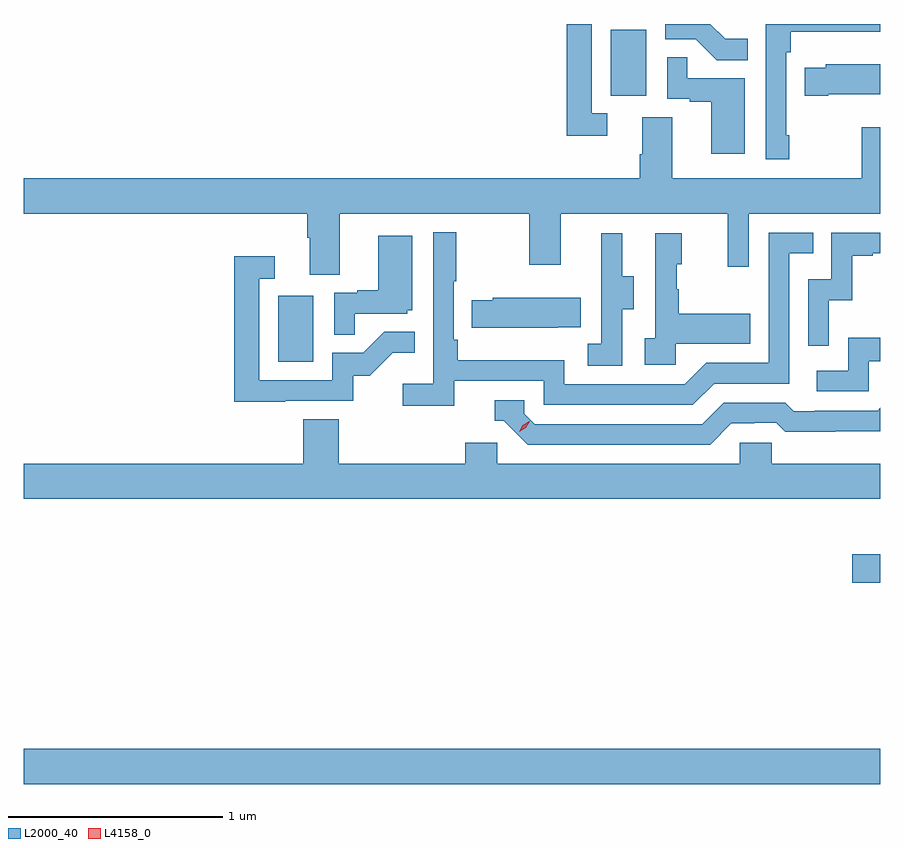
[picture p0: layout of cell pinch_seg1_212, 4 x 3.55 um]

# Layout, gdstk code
import gdstk
lib = gdstk.Library(unit=1e-6, precision=1e-09)
def R(c, l, rs):  # rectangles x0, y0, x1, y1
    for r in rs: c.add(gdstk.rectangle(r[:2], r[2:], *l))
def P(c, l, *ps):  # polygons
    for p in ps: c.add(gdstk.Polygon(p, *l))
L2000_40 = (2000, 40)
L4158_0 = (4158, 0)

pinch_seg1_212 = lib.new_cell('pinch_seg1_212')
R(pinch_seg1_212, L2000_40, [(1007.51,563.72,1011.51,563.884), (1011.378,564.659,1011.51,564.793), (1008.698,565.692,1008.862,565.999), (1010.252,566.934,1010.416,567.241)])
P(pinch_seg1_212, L2000_40, [(1011.085,566.749),(1011.072,566.749),(1011.072,567.137),(1011.092,567.137),(1011.092,567.233),(1011.51,567.233),(1011.51,567.269),(1010.976,567.269),(1010.976,566.637),(1011.085,566.637)],
  [(1010.891,567.199),(1010.787,567.199),(1010.717,567.269),(1010.505,567.269),(1010.505,567.198),(1010.649,567.198),(1010.747,567.1),(1010.891,567.1)],
  [(1010.236,566.853),(1010.163,566.853),(1010.163,567.269),(1010.047,567.269),(1010.047,566.748),(1010.236,566.748)],
  [(1010.878,567.015),(1010.609,567.015),(1010.609,567.113),(1010.514,567.113),(1010.514,566.919),(1010.621,566.919),(1010.621,566.907),(1010.72,566.907),(1010.72,566.664),(1010.878,566.664)],
  [(1011.268,566.942),(1011.51,566.942),(1011.51,567.082),(1011.255,567.082),(1011.255,567.064),(1011.157,567.064),(1011.157,566.935),(1011.268,566.935)],
  [(1008.985,566.384),(1009.87,566.384),(1009.87,566.145),(1010.017,566.145),(1010.017,566.384),(1010.798,566.384),(1010.798,566.136),(1010.895,566.136),(1010.895,566.384),(1011.51,566.384),(1011.51,566.788),(1011.424,566.788),(1011.424,566.548),(1010.539,566.548),(1010.539,566.834),(1010.399,566.834),(1010.399,566.66),(1010.387,566.66),(1010.387,566.548),(1007.51,566.548),(1007.51,566.384),(1008.833,566.384),(1008.833,566.272),(1008.845,566.272),(1008.845,566.098),(1008.985,566.098)],
  [(1009.52,565.602),(1009.938,565.602),(1009.938,565.491),(1010.635,565.491),(1010.734,565.59),(1011.084,565.59),(1011.084,566.199),(1011.197,566.199),(1011.197,566.295),(1010.988,566.295),(1010.988,565.686),(1010.697,565.686),(1010.598,565.587),(1010.034,565.587),(1010.034,565.699),(1009.538,565.699),(1009.538,565.795),(1009.518,565.795),(1009.518,566.068),(1009.531,566.068),(1009.531,566.296),(1009.422,566.296),(1009.422,565.588),(1009.281,565.588),(1009.281,565.486),(1009.52,565.486)],
  [(1011.27,565.979),(1011.38,565.979),(1011.38,566.187),(1011.475,566.187),(1011.475,566.199),(1011.51,566.199),(1011.51,566.295),(1011.282,566.295),(1011.282,566.076),(1011.174,566.076),(1011.174,565.767),(1011.27,565.767)],
  [(1010.556,565.775),(1010.903,565.775),(1010.903,565.915),(1010.569,565.915),(1010.569,566.03),(1010.559,566.03),(1010.559,566.148),(1010.584,566.148),(1010.584,566.293),(1010.46,566.293),(1010.46,565.802),(1010.409,565.802),(1010.409,565.677),(1010.556,565.677)],
  [(1010.304,565.936),(1010.359,565.936),(1010.359,566.091),(1010.305,566.091),(1010.305,566.293),(1010.207,566.293),(1010.207,566.079),(1010.208,566.079),(1010.208,565.775),(1010.145,565.775),(1010.145,565.672),(1010.304,565.672)],
  [(1009.055,565.917),(1009.302,565.917),(1009.302,565.932),(1009.324,565.932),(1009.324,566.281),(1009.166,566.281),(1009.166,566.026),(1009.067,566.026),(1009.067,566.013),(1008.96,566.013),(1008.96,565.819),(1009.055,565.819)],
  [(1008.731,565.509),(1009.05,565.509),(1009.05,565.626),(1009.126,565.626),(1009.233,565.733),(1009.337,565.733),(1009.337,565.832),(1009.193,565.832),(1009.095,565.734),(1008.951,565.734),(1008.951,565.605),(1008.609,565.605),(1008.609,566.079),(1008.682,566.079),(1008.682,566.185),(1008.493,566.185),(1008.493,565.504),(1008.731,565.504)],
  [(1010.003,565.853),(1010.111,565.853),(1010.111,565.99),(1009.701,565.99),(1009.701,565.98),(1009.603,565.98),(1009.603,565.85),(1010.003,565.85)],
  [(1011.456,565.695),(1011.51,565.695),(1011.51,565.804),(1011.36,565.804),(1011.36,565.65),(1011.213,565.65),(1011.213,565.554),(1011.456,565.554)],
  [(1010.815,565.404),(1010.922,565.404),(1010.922,565.407),(1011.025,565.407),(1011.067,565.365),(1011.3,565.365),(1011.3,565.367),(1011.51,565.367),(1011.51,565.476),(1011.498,565.464),(1011.205,565.464),(1011.205,565.461),(1011.106,565.461),(1011.067,565.5),(1010.778,565.5),(1010.679,565.401),(1009.896,565.401),(1009.848,565.449),(1009.848,565.512),(1009.709,565.512),(1009.709,565.416),(1009.752,565.416),(1009.863,565.305),(1010.716,565.305)],
  [(1011.51,565.216),(1011.003,565.216),(1011.003,565.314),(1010.853,565.314),(1010.853,565.216),(1009.722,565.216),(1009.722,565.314),(1009.571,565.314),(1009.571,565.216),(1008.98,565.216),(1008.98,565.424),(1008.815,565.424),(1008.815,565.216),(1007.51,565.216),(1007.51,565.052),(1011.51,565.052)])
P(pinch_seg1_212, L4158_0, [(1009.824,565.364),(1009.824,565.364),(1009.84,565.396),(1009.871,565.415),(1009.872,565.415),(1009.872,565.415),(1009.855,565.383),(1009.824,565.364)])

lib.write_gds('pinch_seg1_212.gds')
